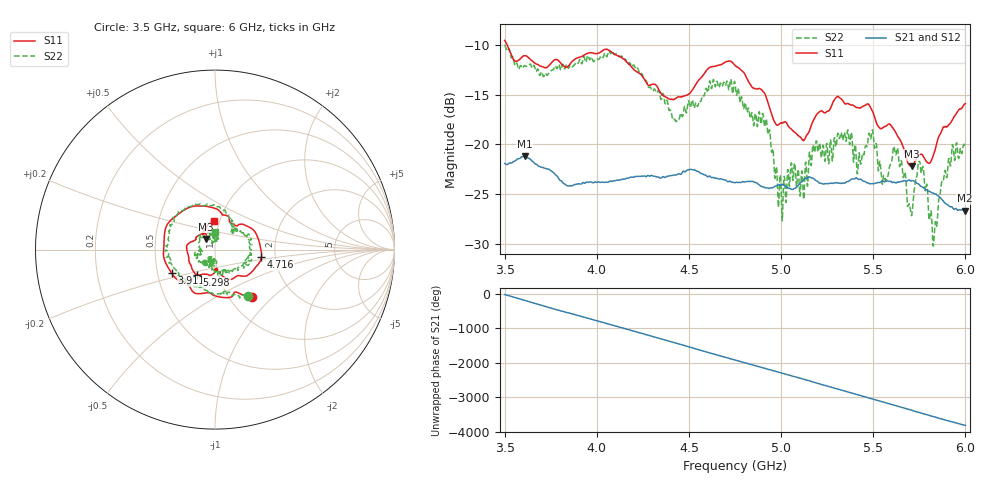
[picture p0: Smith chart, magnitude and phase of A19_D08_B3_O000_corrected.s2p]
! Created with skrf 1.9.0 (http://scikit-rf.org).
# Hz S RI R 50.0
!freq ReS11 ImS11 ReS21 ImS21 ReS12 ImS12 ReS22 ImS22
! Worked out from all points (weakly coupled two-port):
!   1601 points, 3.5 GHz to 6 GHz, reference 50 ohm
!   highest |S21| = -21.21 dB at 3.609 GHz (marker M1); lowest = -26.7 dB at 5.995 GHz (marker M2)
!   lowest |S11| = -22.2 dB at 5.709 GHz (marker M3), VSWR 1.17, Z = 45 + j5.4 ohm
!   |S11| at or under -10 dB: 3.513 GHz to end of sweep
!   |S22| runs from -30.2 to -10.0 dB; largest |S21 - S12| = 0.0011
!   S11 on the Smith chart (normalised r, x): 3.5 GHz: 1.27, -0.75; 3.911 GHz: 0.59, -0.17; 4.716 GHz: 1.69, -0.15; 5.298 GHz: 0.79, -0.23; 6 GHz: 0.94, +0.31
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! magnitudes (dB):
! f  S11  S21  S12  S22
! 3.5 GHz  -9.6  -21.9  -21.9  -10.0
! 3.609 GHz  -11.1  -21.2  -21.2  -12.1
! 3.911 GHz  -11.2  -24.0  -24.0  -11.5
! 3.917 GHz  -11.2  -24.0  -24.0  -11.9
! 4.334 GHz  -14.4  -23.3  -23.2  -14.6
! 4.434 GHz  -15.3  -23.0  -23.0  -17.7
! 4.716 GHz  -11.6  -23.7  -23.8  -14.5
! 4.75 GHz  -12.1  -23.9  -23.8  -13.9
! 4.928 GHz  -15.8  -24.4  -24.4  -19.0
! 4.997 GHz  -17.9  -24.1  -24.1  -23.2
! 5.167 GHz  -17.9  -23.4  -23.4  -21.4
! 5.298 GHz  -15.3  -23.9  -23.8  -20.2
! 5.422 GHz  -16.3  -23.5  -23.5  -21.1
! 5.487 GHz  -16.4  -24.0  -23.9  -19.4
! 5.584 GHz  -18.0  -23.7  -23.7  -22.7
! 5.623 GHz  -18.9  -23.9  -23.9  -21.0
! 5.709 GHz  -22.2  -23.6  -23.6  -27.1
! 5.758 GHz  -21.0  -24.2  -24.2  -22.5
! 5.833 GHz  -20.7  -25.0  -24.9  -28.6
! 5.88 GHz  -18.3  -25.7  -25.7  -23.6
! 5.995 GHz  -15.9  -26.7  -26.6  -20.0
! 6 GHz  -15.9  -26.7  -26.6  -19.9
